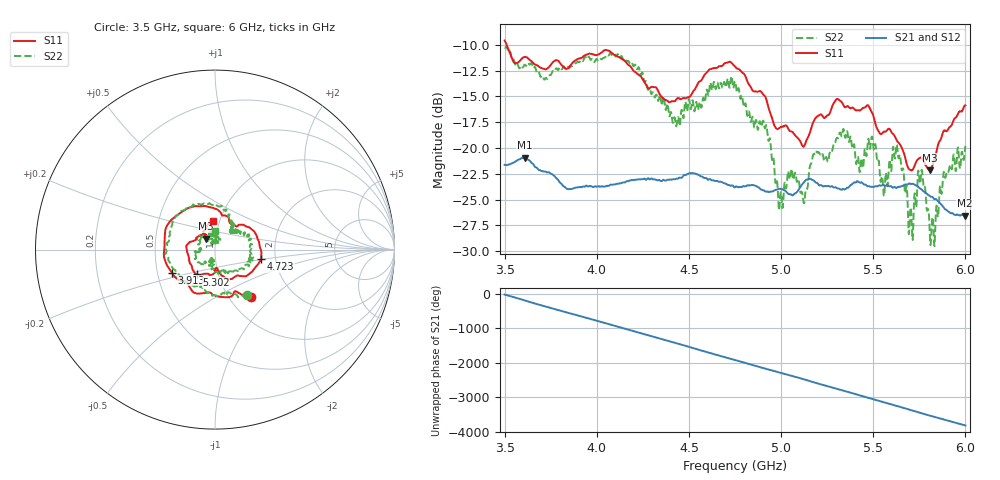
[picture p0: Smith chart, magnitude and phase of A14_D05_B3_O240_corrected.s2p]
! Created with skrf 1.9.0 (http://scikit-rf.org).
# Hz S RI R 50.0
!freq ReS11 ImS11 ReS21 ImS21 ReS12 ImS12 ReS22 ImS22
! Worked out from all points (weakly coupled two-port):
!   1601 points, 3.5 GHz to 6 GHz, reference 50 ohm
!   highest |S21| = -20.93 dB at 3.609 GHz (marker M1); lowest = -26.6 dB at 5.995 GHz (marker M2)
!   lowest |S11| = -22.2 dB at 5.806 GHz (marker M3), VSWR 1.17, Z = 45 + j5.51 ohm
!   |S11| at or under -10 dB: 3.512 GHz to end of sweep
!   |S22| runs from -29.5 to -10.1 dB; largest |S21 - S12| = 0.00097
!   S11 on the Smith chart (normalised r, x): 3.5 GHz: 1.26, -0.75; 3.913 GHz: 0.59, -0.16; 4.723 GHz: 1.68, -0.20; 5.302 GHz: 0.79, -0.22; 6 GHz: 0.93, +0.31
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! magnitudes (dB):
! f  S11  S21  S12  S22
! 3.5 GHz  -9.6  -21.6  -21.6  -10.3
! 3.609 GHz  -11.2  -20.9  -20.9  -11.9
! 3.913 GHz  -11.3  -23.8  -23.7  -11.5
! 3.917 GHz  -11.3  -23.8  -23.8  -11.5
! 4.123 GHz  -11.2  -23.4  -23.4  -11.3
! 4.334 GHz  -14.5  -23.1  -23.1  -15.4
! 4.441 GHz  -15.2  -23.0  -22.9  -17.0
! 4.723 GHz  -11.6  -23.6  -23.6  -13.9
! 4.75 GHz  -12.1  -23.8  -23.7  -13.5
! 4.912 GHz  -15.0  -24.2  -24.1  -18.1
! 4.998 GHz  -18.0  -24.0  -23.9  -24.3
! 5.048 GHz  -18.3  -24.5  -24.5  -23.0
! 5.13 GHz  -19.7  -23.2  -23.2  -24.6
! 5.167 GHz  -17.8  -23.1  -23.0  -21.2
! 5.302 GHz  -15.3  -23.9  -23.8  -19.0
! 5.584 GHz  -18.1  -23.7  -23.7  -21.8
! 5.636 GHz  -19.4  -23.8  -23.7  -20.9
! 5.703 GHz  -22.1  -23.5  -23.5  -25.7
! 5.756 GHz  -20.9  -23.9  -23.9  -23.3
! 5.806 GHz  -22.2  -24.6  -24.6  -28.1
! 5.995 GHz  -15.9  -26.6  -26.5  -20.5
! 6 GHz  -15.9  -26.5  -26.5  -19.8
